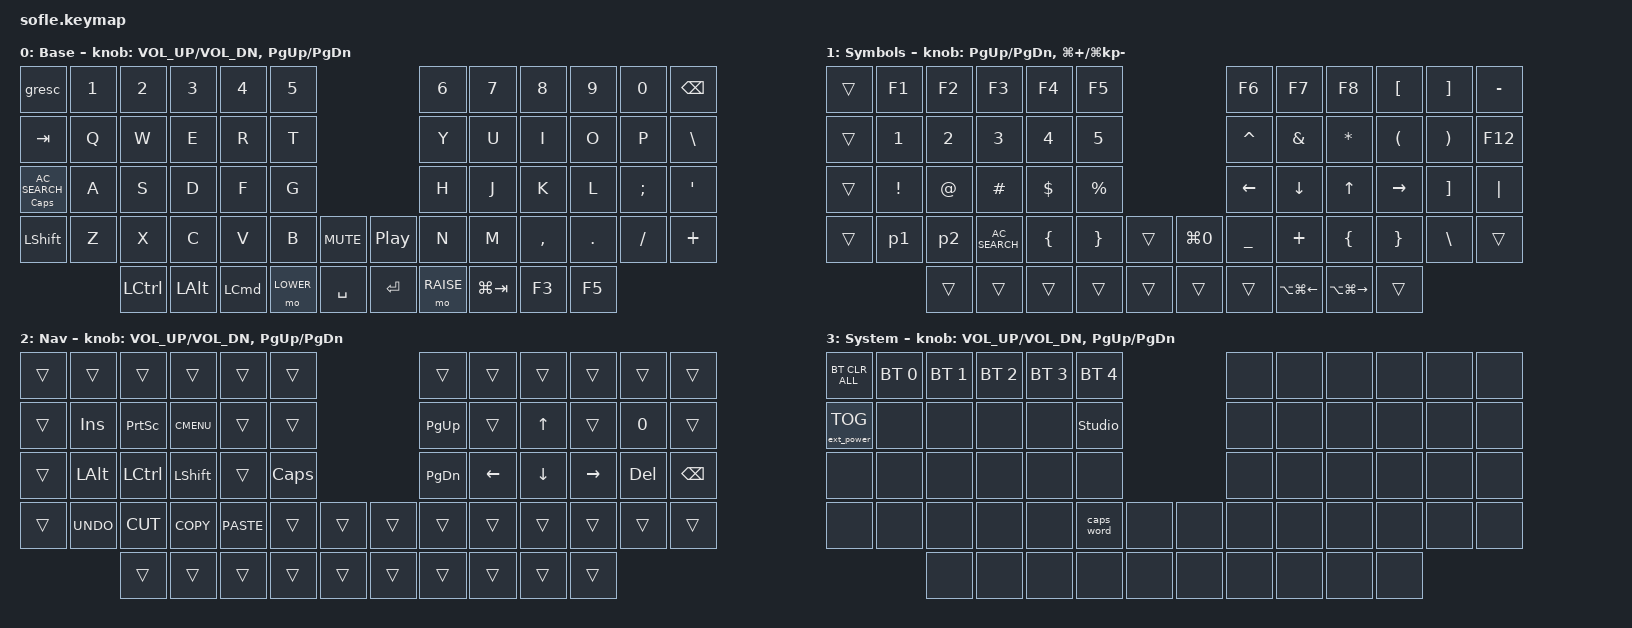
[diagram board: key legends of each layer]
/*
 * Copyright (c) 2020 The ZMK Contributors
 *
 * SPDX-License-Identifier: MIT
 */

#include <behaviors.dtsi>
#include <dt-bindings/zmk/bt.h>
#include <dt-bindings/zmk/ext_power.h>
#include <dt-bindings/zmk/keys.h>

// Encoders

&sensors { triggers-per-rotation = <30>; };

&left_encoder { steps = <60>; };

&right_encoder { steps = <60>; };

#define BASE 0
#define LOWER 1
#define RAISE 2
#define ADJUST 3

/ {
    // Activate ADJUST layer by pressing raise and lower

    conditional_layers {
        compatible = "zmk,conditional-layers";

        adjust_layer {
            if-layers = <LOWER RAISE>;
            then-layer = <ADJUST>;
        };
    };

    combos {
        compatible = "zmk,combos";

        backspace {
            bindings = <&kp BACKSPACE>;
            key-positions = <32 31>;
        };

        delete {
            bindings = <&kp DELETE>;
            key-positions = <27 33>;
        };

        esc {
            bindings = <&kp ESCAPE>;
            key-positions = <25 41>;
        };

        window {
            bindings = <&kp LS(LG(GRAVE))>;
            key-positions = <52 0>;
        };
    };

    behaviors {
        caps: caps {
            compatible = "zmk,behavior-caps-word";
            label = "CAPS";
            #binding-cells = <0>;
            continue-list = <POUND MINUS BACKSPACE UNDERSCORE>;
        };
    };

    macros {
        p1: p1 {
            compatible = "zmk,behavior-macro";
            #binding-cells = <0>;
            bindings = <&kp LS(D) &kp EXCL &kp D &kp E &kp R &kp O &kp T &kp N1 &kp N6 &kp N8 &kp N8 &kp RET>;
            label = "P1";
        };

        p2: p2 {
            compatible = "zmk,behavior-macro";
            #binding-cells = <0>;
            bindings = <&kp LS(T) &kp O &kp M &kp LS(P) &kp A &kp EXCL &kp N &kp E &kp N1 &kp N6 &kp N8 &kp N8 &kp RET>;
            label = "P2";
        };
    };

    keymap {
        compatible = "zmk,keymap";

        default_layer {
            display-name = "Base";

            // ------------------------------------------------------------------------------------------------------------
            // |   `   |  1  |  2  |  3   |  4   |  5   |                   |  6   |  7    |  8    |  9   |   0   |       |
            // |  ESC  |  Q  |  W  |  E   |  R   |  T   |                   |  Y   |  U    |  I    |  O   |   P   | BKSPC |
            // |  TAB  |  A  |  S  |  D   |  F   |  G   |                   |  H   |  J    |  K    |  L   |   ;   |   '   |
            // | SHIFT |  Z  |  X  |  C   |  V   |  B   |  MUTE  |  |       |  N   |  M    |  ,    |  .   |   /   | SHIFT |
            //               | GUI | ALT  | CTRL | LOWER|  ENTER |  | SPACE | RAISE| CTRL  | ALT   | GUI  |

            bindings = <
&gresc                &kp N1  &kp N2            &kp N3    &kp N4            &kp N5                                     &kp N6     &kp N7       &kp N8     &kp N9   &kp N0    &kp BACKSPACE
&kp TAB               &kp Q   &kp W             &kp E     &kp R             &kp T                                      &kp Y      &kp U        &kp I      &kp O    &kp P     &kp BACKSLASH
&mt CAPS C_AC_SEARCH  &kp A   &kp S             &kp D     &kp F             &kp G                                      &kp H      &kp J        &kp K      &kp L    &kp SEMI  &kp SQT
&kp LEFT_SHIFT        &kp Z   &kp X             &kp C     &kp V             &kp B      &kp C_MUTE    &kp C_PLAY_PAUSE  &kp N      &kp M        &kp COMMA  &kp DOT  &kp FSLH  &kp PLUS
                              &kp LEFT_CONTROL  &kp LALT  &kp LEFT_COMMAND  &mo LOWER  &kp SPACE     &kp ENTER         &mo RAISE  &kp LG(TAB)  &kp F3     &kp F5
            >;

            sensor-bindings = <&inc_dec_kp C_VOL_UP C_VOL_DN &inc_dec_kp PG_UP PG_DN>;
        };

        lower_layer {
            display-name = "Symbols";

            // TODO: Some binds are waiting for shifted keycode support.
            // ------------------------------------------------------------------------------------------------------------
            // |       |  F1 |  F2 |  F3  |  F4  |  F5  |                   |  F6  |  F7   |  F8   |  F9  |  F10  |  F11  |
            // |   `   |  1  |  2  |  3   |  4   |  5   |                   |  6   |  7    |  8    |  9   |   0   |  F12  |
            // |       |  !  |  @  |  #   |  $   |  %   |                   |  ^   |  &    |  *    |  (   |   )   |   |   |
            // |       |  =  |  -  |  +   |  {   |  }   |        |  |       |  [   |  ]    |  ;    |  :   |   \   |       |
            //               |     |      |      |      |        |  |       |      |       |       |      |

            bindings = <
&trans  &kp F1    &kp F2  &kp F3           &kp F4    &kp F5                           &kp F6          &kp F7                  &kp F8                   &kp LEFT_BRACKET      &kp RIGHT_BRACKET      &kp MINUS
&trans  &kp N1    &kp N2  &kp N3           &kp N4    &kp N5                           &kp CARET       &kp AMPERSAND           &kp ASTRK                &kp LEFT_PARENTHESIS  &kp RIGHT_PARENTHESIS  &kp F12
&trans  &kp EXCL  &kp AT  &kp HASH         &kp DLLR  &kp PRCNT                        &kp LEFT        &kp DOWN_ARROW          &kp UP_ARROW             &kp RIGHT             &kp RIGHT_BRACKET      &kp PIPE
&trans  &p1       &p2     &kp C_AC_SEARCH  &kp LBRC  &kp RBRC   &trans    &kp LG(N0)  &kp UNDERSCORE  &kp PLUS                &kp LEFT_BRACE           &kp RIGHT_BRACE       &kp BACKSLASH          &trans
                  &trans  &trans           &trans    &trans     &trans    &trans      &trans          &kp LA(LG(LEFT_ARROW))  &kp LA(LG(RIGHT_ARROW))  &trans
            >;

            sensor-bindings =
                <&inc_dec_kp PAGE_UP PAGE_DOWN>,
                <&inc_dec_kp LG(PLUS) LG(KP_MINUS)>;
        };

        raise_layer {
            display-name = "Nav";

            // ------------------------------------------------------------------------------------------------------------
            // | BTCLR | BT1  | BT2  |  BT3  |  BT4  |  BT5 |                |      |      |       |      |       |       |
            // |       | INS  | PSCR | GUI   |       |      |                | PGUP |      |   ^   |      |       |       |
            // |       | ALT  | CTRL | SHIFT |       | CAPS |                | PGDN |   <- |   v   |  ->  |  DEL  | BKSPC |
            // |       | UNDO | CUT  | COPY  | PASTE |      |      |  |      |      |      |       |      |       |       |
            //                |      |       |       |      |      |  |      |      |      |       |      |

            bindings = <
&trans  &trans      &trans     &trans       &trans       &trans                      &trans     &trans    &trans    &trans     &trans   &trans
&trans  &kp INS     &kp PSCRN  &kp K_CMENU  &trans       &trans                      &kp PG_UP  &trans    &kp UP    &trans     &kp N0   &trans
&trans  &kp LALT    &kp LCTRL  &kp LSHFT    &trans       &kp CLCK                    &kp PG_DN  &kp LEFT  &kp DOWN  &kp RIGHT  &kp DEL  &kp BSPC
&trans  &kp K_UNDO  &kp K_CUT  &kp K_COPY   &kp K_PASTE  &trans    &trans    &trans  &trans     &trans    &trans    &trans     &trans   &trans
                    &trans     &trans       &trans       &trans    &trans    &trans  &trans     &trans    &trans    &trans
            >;

            sensor-bindings = <&inc_dec_kp C_VOL_UP C_VOL_DN &inc_dec_kp PG_UP PG_DN>;
        };

        adjust_layer {
            // ----------------------------------------------------------------------------------------------------------------------------
            // | BTCLR  |  BT1    |  BT2    |   BT3   |   BT4   |   BT5   |                  |      |      |       |      |       |       |
            // | EXTPWR | RGB_HUD | RGB_HUI | RGB_SAD | RGB_SAI | RGB_EFF |                  |      |      |       |      |       |       |
            // |        | RGB_BRD | RGB_BRI |         |         |         |                  |      |      |       |      |       |       |
            // |        |         |         |         |         |         | RGB_TOG | |      |      |      |       |      |       |       |
            //                    |         |         |         |         |         | |      |      |      |       |      |

            display-name = "System";
            bindings = <
&bt BT_CLR_ALL     &bt BT_SEL 0  &bt BT_SEL 1  &bt BT_SEL 2  &bt BT_SEL 3  &bt BT_SEL 4                    &none  &none  &none  &none  &none  &none
&ext_power EP_TOG  &none         &none         &none         &none         &studio_unlock                  &none  &none  &none  &none  &none  &none
&none              &none         &none         &none         &none         &none                           &none  &none  &none  &none  &none  &none
&none              &none         &none         &none         &none         &caps_word      &none    &none  &none  &none  &none  &none  &none  &none
                                 &none         &none         &none         &none           &none    &none  &none  &none  &none  &none
            >;

            sensor-bindings = <&inc_dec_kp C_VOL_UP C_VOL_DN &inc_dec_kp PG_UP PG_DN>;
        };
    };
};
